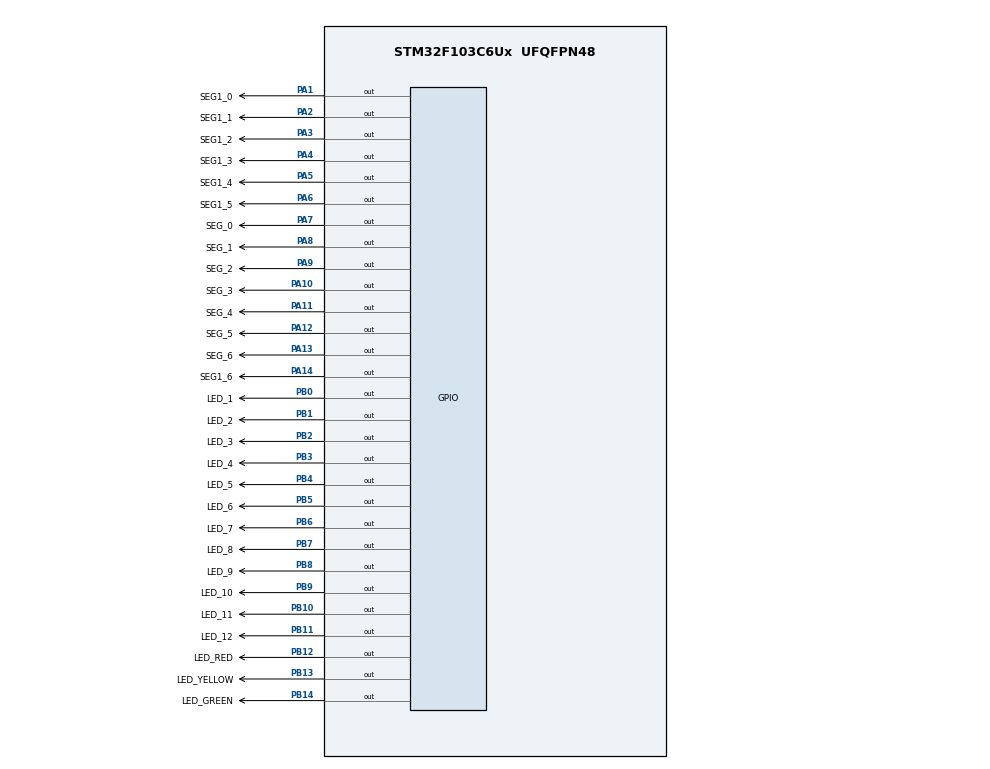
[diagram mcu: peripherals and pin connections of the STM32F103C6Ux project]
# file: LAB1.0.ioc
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Mcu.Family=STM32F1
Mcu.Name=STM32F103C6Ux
Mcu.Package=UFQFPN48
NVIC.PriorityGroup=NVIC_PRIORITYGROUP_4
PA1.GPIO_Label=SEG1_0
PA1.Signal=GPIO_Output
PA10.GPIO_Label=SEG_3
PA10.Signal=GPIO_Output
PA11.GPIO_Label=SEG_4
PA11.Signal=GPIO_Output
PA12.GPIO_Label=SEG_5
PA12.Signal=GPIO_Output
PA13.GPIO_Label=SEG_6
PA13.Signal=GPIO_Output
PA14.GPIO_Label=SEG1_6
PA14.GPIO_ModeDefaultOutputPP=GPIO_MODE_OUTPUT_PP
PA14.Signal=GPIO_Output
PA2.GPIO_Label=SEG1_1
PA2.Signal=GPIO_Output
PA3.GPIO_Label=SEG1_2
PA3.Signal=GPIO_Output
PA4.GPIO_Label=SEG1_3
PA4.Signal=GPIO_Output
PA5.GPIO_Label=SEG1_4
PA5.Signal=GPIO_Output
PA6.GPIO_Label=SEG1_5
PA6.Signal=GPIO_Output
PA7.GPIO_Label=SEG_0
PA7.Signal=GPIO_Output
PA8.GPIO_Label=SEG_1
PA8.Signal=GPIO_Output
PA9.GPIO_Label=SEG_2
PA9.Signal=GPIO_Output
PB0.GPIO_Label=LED_1
PB0.Signal=GPIO_Output
PB1.GPIO_Label=LED_2
PB1.Signal=GPIO_Output
PB10.GPIO_Label=LED_11
PB10.Signal=GPIO_Output
PB11.GPIO_Label=LED_12
PB11.Signal=GPIO_Output
PB12.GPIO_Label=LED_RED
PB12.Signal=GPIO_Output
PB13.GPIO_Label=LED_YELLOW
PB13.Signal=GPIO_Output
PB14.GPIO_Label=LED_GREEN
PB14.Signal=GPIO_Output
PB2.GPIO_Label=LED_3
PB2.Signal=GPIO_Output
PB3.GPIO_Label=LED_4
PB3.Signal=GPIO_Output
PB4.GPIO_Label=LED_5
PB4.Signal=GPIO_Output
PB5.GPIO_Label=LED_6
PB5.Signal=GPIO_Output
PB6.GPIO_Label=LED_7
PB6.Signal=GPIO_Output
PB7.GPIO_Label=LED_8
PB7.Signal=GPIO_Output
PB8.GPIO_Label=LED_9
PB8.Signal=GPIO_Output
PB9.GPIO_Label=LED_10
PB9.Signal=GPIO_Output
ProjectManager.HeapSize=0x200
ProjectManager.StackSize=0x400
ProjectManager.TargetToolchain=STM32CubeIDE
RCC.APB1Freq_Value=8000000
RCC.APB2Freq_Value=8000000
VP_SYS_VS_ND.Mode=No_Debug
board=custom

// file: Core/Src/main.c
/* USER CODE BEGIN Header */
/**
  ******************************************************************************
  * @file           : main.c
  * @brief          : Main program body
  ******************************************************************************
  * @attention
  *
  * <h2><center>&copy; Copyright (c) 2024 STMicroelectronics.
  * All rights reserved.</center></h2>
  *
  * This software component is licensed by ST under BSD 3-Clause license,
  * the "License"; You may not use this file except in compliance with the
  * License. You may obtain a copy of the License at:
  *                        opensource.org/licenses/BSD-3-Clause
  *
  ******************************************************************************
  */
/* USER CODE END Header */
#include "main.h"

void SystemClock_Config(void);
static void MX_GPIO_Init(void);

int main(void)
{

  /* MCU Configuration--------------------------------------------------------*/

  /* Reset of all peripherals, Initializes the Flash interface and the Systick. */
  HAL_Init();

  /* Configure the system clock */
  SystemClock_Config();

  /* Initialize all configured peripherals */
  MX_GPIO_Init();

  /* Infinite loop */
  /* USER CODE BEGIN WHILE */

  void display7SEG(int num){

    	HAL_GPIO_WritePin(GPIOA, SEG_0_Pin |SEG_1_Pin |SEG_2_Pin |SEG_3_Pin |SEG_4_Pin |SEG_5_Pin |SEG_6_Pin, GPIO_PIN_SET);
    	switch(num)
    	{
    	case 0:
    		HAL_GPIO_WritePin(GPIOA, SEG_0_Pin |SEG_1_Pin |SEG_2_Pin |SEG_3_Pin |SEG_4_Pin |SEG_5_Pin, GPIO_PIN_RESET);
    		break;
    	case 1:
    		HAL_GPIO_WritePin(GPIOA, SEG_1_Pin |SEG_2_Pin, GPIO_PIN_RESET);
    		break;
    	case 2:
    		HAL_GPIO_WritePin(GPIOA, SEG_0_Pin |SEG_1_Pin |SEG_3_Pin |SEG_4_Pin |SEG_6_Pin, GPIO_PIN_RESET);
    		break;
    	case 3:
    		HAL_GPIO_WritePin(GPIOA, SEG_0_Pin |SEG_1_Pin |SEG_2_Pin |SEG_3_Pin |SEG_6_Pin , GPIO_PIN_RESET);
    		break;
    	case 4:
    		HAL_GPIO_WritePin(GPIOA,SEG_1_Pin |SEG_2_Pin |SEG_5_Pin |SEG_6_Pin, GPIO_PIN_RESET);
    		break;
    	case 5:
    		HAL_GPIO_WritePin(GPIOA, SEG_0_Pin |SEG_2_Pin |SEG_3_Pin|SEG_5_Pin |SEG_6_Pin, GPIO_PIN_RESET);
    		break;
    	case 6:
    		HAL_GPIO_WritePin(GPIOA, SEG_0_Pin |SEG_2_Pin |SEG_3_Pin |SEG_4_Pin |SEG_5_Pin|SEG_6_Pin, GPIO_PIN_RESET);
    		break;
    	case 7:
    		HAL_GPIO_WritePin(GPIOA, SEG_0_Pin |SEG_1_Pin |SEG_2_Pin, GPIO_PIN_RESET);
    		break;
    	case 8:
    		HAL_GPIO_WritePin(GPIOA, SEG_0_Pin |SEG_1_Pin |SEG_2_Pin |SEG_3_Pin |SEG_4_Pin |SEG_5_Pin |SEG_6_Pin, GPIO_PIN_RESET);
    		break;
    	case 9:
    		HAL_GPIO_WritePin(GPIOA, SEG_0_Pin |SEG_1_Pin |SEG_2_Pin |SEG_3_Pin |SEG_5_Pin|SEG_6_Pin, GPIO_PIN_RESET);
    		break;
    	default:
    		HAL_GPIO_WritePin(GPIOA, SEG_0_Pin |SEG_1_Pin |SEG_2_Pin |SEG_3_Pin |SEG_4_Pin |SEG_5_Pin |SEG_6_Pin, GPIO_PIN_SET);
    	    break;
    	}
    }

  int counter = 0;
  while (1)
  {
	  if(counter >= 10) counter = 0;
	  display7SEG(counter++);
	  HAL_Delay (1000);
    /* USER CODE END WHILE */

  }
}

void SystemClock_Config(void)
{
  RCC_OscInitTypeDef RCC_OscInitStruct = {0};
  RCC_ClkInitTypeDef RCC_ClkInitStruct = {0};

  /** Initializes the RCC Oscillators according to the specified parameters
  * in the RCC_OscInitTypeDef structure.
  */
  RCC_OscInitStruct.OscillatorType = RCC_OSCILLATORTYPE_HSI;
  RCC_OscInitStruct.HSIState = RCC_HSI_ON;
  RCC_OscInitStruct.HSICalibrationValue = RCC_HSICALIBRATION_DEFAULT;
  RCC_OscInitStruct.PLL.PLLState = RCC_PLL_NONE;
  if (HAL_RCC_OscConfig(&RCC_OscInitStruct) != HAL_OK)
  {
    Error_Handler();
  }
  /** Initializes the CPU, AHB and APB buses clocks
  */
  RCC_ClkInitStruct.ClockType = RCC_CLOCKTYPE_HCLK|RCC_CLOCKTYPE_SYSCLK
                              |RCC_CLOCKTYPE_PCLK1|RCC_CLOCKTYPE_PCLK2;
  RCC_ClkInitStruct.SYSCLKSource = RCC_SYSCLKSOURCE_HSI;
  RCC_ClkInitStruct.AHBCLKDivider = RCC_SYSCLK_DIV1;
  RCC_ClkInitStruct.APB1CLKDivider = RCC_HCLK_DIV1;
  RCC_ClkInitStruct.APB2CLKDivider = RCC_HCLK_DIV1;

  if (HAL_RCC_ClockConfig(&RCC_ClkInitStruct, FLASH_LATENCY_0) != HAL_OK)
  {
    Error_Handler();
  }
}

static void MX_GPIO_Init(void)
{
  GPIO_InitTypeDef GPIO_InitStruct = {0};

  /* GPIO Ports Clock Enable */
  __HAL_RCC_GPIOA_CLK_ENABLE();
  __HAL_RCC_GPIOB_CLK_ENABLE();

  /*Configure GPIO pin Output Level */
  HAL_GPIO_WritePin(GPIOA, SEG1_0_Pin|SEG1_1_Pin|SEG1_2_Pin|SEG1_3_Pin
                          |SEG1_4_Pin|SEG1_5_Pin|SEG_0_Pin|SEG_1_Pin
                          |SEG_2_Pin|SEG_3_Pin|SEG_4_Pin|SEG_5_Pin
                          |SEG_6_Pin|SEG1_6_Pin, GPIO_PIN_RESET);

  /*Configure GPIO pin Output Level */
  HAL_GPIO_WritePin(GPIOB, LED_1_Pin|LED_2_Pin|LED_3_Pin|LED_11_Pin
                          |LED_12_Pin|LED_RED_Pin|LED_YELLOW_Pin|LED_GREEN_Pin
                          |LED_4_Pin|LED_5_Pin|LED_6_Pin|LED_7_Pin
                          |LED_8_Pin|LED_9_Pin|LED_10_Pin, GPIO_PIN_RESET);

  /*Configure GPIO pins : SEG1_0_Pin SEG1_1_Pin SEG1_2_Pin SEG1_3_Pin
                           SEG1_4_Pin SEG1_5_Pin SEG_0_Pin SEG_1_Pin
                           SEG_2_Pin SEG_3_Pin SEG_4_Pin SEG_5_Pin
                           SEG_6_Pin SEG1_6_Pin */
  GPIO_InitStruct.Pin = SEG1_0_Pin|SEG1_1_Pin|SEG1_2_Pin|SEG1_3_Pin
                          |SEG1_4_Pin|SEG1_5_Pin|SEG_0_Pin|SEG_1_Pin
                          |SEG_2_Pin|SEG_3_Pin|SEG_4_Pin|SEG_5_Pin
                          |SEG_6_Pin|SEG1_6_Pin;
  GPIO_InitStruct.Mode = GPIO_MODE_OUTPUT_PP;
  GPIO_InitStruct.Pull = GPIO_NOPULL;
  GPIO_InitStruct.Speed = GPIO_SPEED_FREQ_LOW;
  HAL_GPIO_Init(GPIOA, &GPIO_InitStruct);

  /*Configure GPIO pins : LED_1_Pin LED_2_Pin LED_3_Pin LED_11_Pin
                           LED_12_Pin LED_RED_Pin LED_YELLOW_Pin LED_GREEN_Pin
                           LED_4_Pin LED_5_Pin LED_6_Pin LED_7_Pin
                           LED_8_Pin LED_9_Pin LED_10_Pin */
  GPIO_InitStruct.Pin = LED_1_Pin|LED_2_Pin|LED_3_Pin|LED_11_Pin
                          |LED_12_Pin|LED_RED_Pin|LED_YELLOW_Pin|LED_GREEN_Pin
                          |LED_4_Pin|LED_5_Pin|LED_6_Pin|LED_7_Pin
                          |LED_8_Pin|LED_9_Pin|LED_10_Pin;
  GPIO_InitStruct.Mode = GPIO_MODE_OUTPUT_PP;
  GPIO_InitStruct.Pull = GPIO_NOPULL;
  GPIO_InitStruct.Speed = GPIO_SPEED_FREQ_LOW;
  HAL_GPIO_Init(GPIOB, &GPIO_InitStruct);

}

void Error_Handler(void)
{
  __disable_irq();
  while (1)
  {
  }
}

/************************ (C) COPYRIGHT STMicroelectronics *****END OF FILE****/
